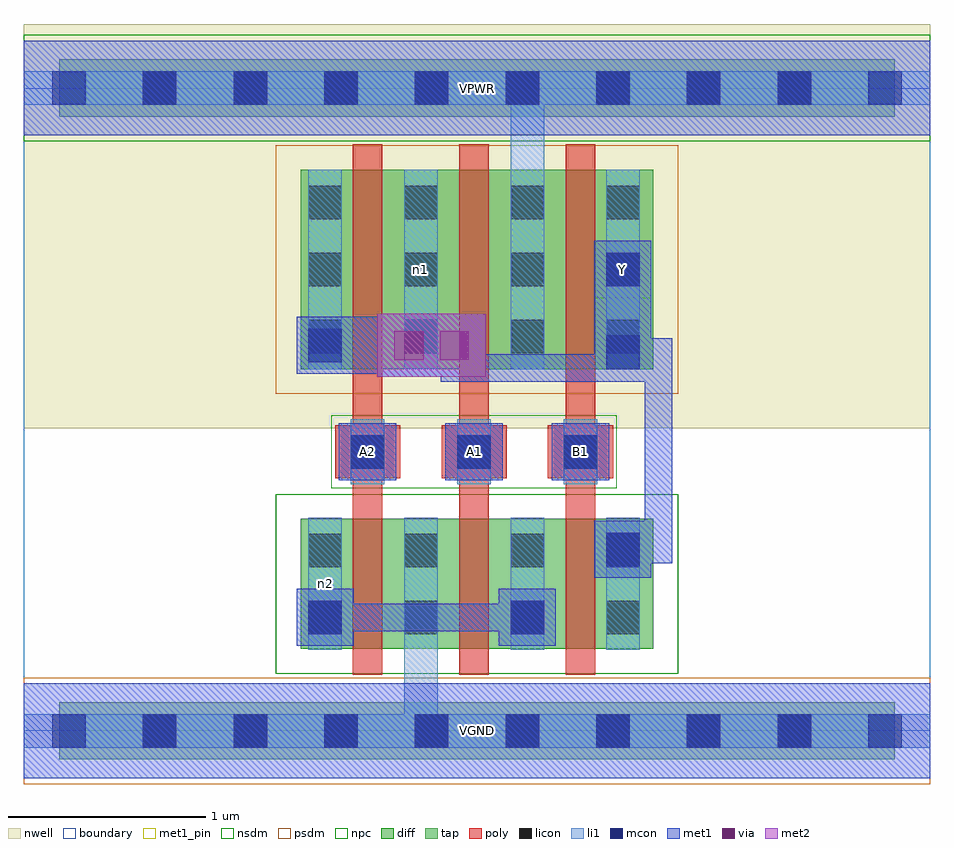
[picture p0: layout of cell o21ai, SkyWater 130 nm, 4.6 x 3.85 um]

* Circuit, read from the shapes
.subckt o21ai A1 A2 B1 VGND VPWR Y n1 n2
XM1 VGND A2 n2 VGND sky130_fd_pr__nfet_01v8 w=0.66 l=0.15
XM2 n2 A1 VGND VGND sky130_fd_pr__nfet_01v8 w=0.66 l=0.15
XM3 Y B1 n2 VGND sky130_fd_pr__nfet_01v8 w=0.66 l=0.15
XM4 n1 A2 Y VPWR sky130_fd_pr__pfet_01v8 w=1.01 l=0.15
XM5 VPWR A1 n1 VPWR sky130_fd_pr__pfet_01v8 w=1.01 l=0.15
XM6 Y B1 VPWR VPWR sky130_fd_pr__pfet_01v8 w=1.01 l=0.15
.ends

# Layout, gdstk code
import gdstk
lib = gdstk.Library(unit=1e-6, precision=1e-09)
def R(c, l, rs):  # rectangles x0, y0, x1, y1
    for r in rs: c.add(gdstk.rectangle(r[:2], r[2:], *l))
def A(c, l, x, y, w, h, nx, ny, dx, dy):  # array of equal rectangles
    R(c, l, [(x+i*dx, y+j*dy, x+i*dx+w, y+j*dy+h) for i in range(nx) for j in range(ny)])
nwell = (64, 20)
diff = (65, 20)
tap = (65, 44)
poly = (66, 20)
licon = (66, 44)
li1 = (67, 20)
mcon = (67, 44)
met1_pin = (68, 16)
met1 = (68, 20)
via = (68, 44)
met2 = (69, 20)
nsdm = (93, 44)
psdm = (94, 20)
npc = (95, 20)
boundary = (235, 4)

o21ai = lib.new_cell('o21ai')
R(o21ai, nwell, [(0,1.535,4.6,3.585)])
R(o21ai, diff, [(1.405,0.415,3.195,1.075), (1.405,1.835,3.195,2.845)])
R(o21ai, tap, [(0.18,-0.145,4.42,0.145), (0.18,3.115,4.42,3.405)])
A(o21ai, poly, 1.67, 0.285, 0.15, 2.69, 3, 1, 0.54, 0)
A(o21ai, poly, 1.58, 1.28, 0.33, 0.27, 3, 1, 0.54, 0)
A(o21ai, licon, 0.605, -0.085, 0.17, 0.17, 8, 2, 0.46, 3.26)
A(o21ai, licon, 1.66, 1.33, 0.17, 0.17, 3, 1, 0.54, 0)
A(o21ai, licon, 1.445, 1.915, 0.17, 0.17, 1, 3, 0, 0.34)
A(o21ai, licon, 1.93, 1.915, 0.17, 0.17, 1, 3, 0, 0.34)
A(o21ai, licon, 2.47, 1.915, 0.17, 0.17, 1, 3, 0, 0.34)
A(o21ai, licon, 2.955, 1.915, 0.17, 0.17, 1, 3, 0, 0.34)
R(o21ai, licon, [(1.445,0.49,1.615,0.66), (1.93,0.49,2.1,0.66), (2.47,0.49,2.64,0.66), (2.955,0.49,3.125,0.66), (1.445,0.83,1.615,1), (1.93,0.83,2.1,1), (2.47,0.83,2.64,1), (2.955,0.83,3.125,1)])
A(o21ai, li1, 1.66, 1.25, 0.17, 0.33, 3, 1, 0.54, 0)
R(o21ai, li1, [(0,-0.085,4.6,0.085), (1.93,-0.085,2.1,1.08), (1.445,0.41,1.615,1.08), (1.93,0.41,2.1,1.08), (2.47,0.41,2.64,1.08), (2.955,0.41,3.125,1.08), (1.445,1.835,1.615,2.845), (1.93,1.835,2.1,2.845), (2.47,1.835,2.64,2.845), (2.47,1.835,2.64,3.345), (2.955,1.835,3.125,2.845), (0,3.175,4.6,3.345)])
A(o21ai, mcon, 0.145, -0.085, 0.17, 0.17, 10, 2, 0.46, 3.26)
A(o21ai, mcon, 1.66, 1.33, 0.17, 0.17, 3, 1, 0.54, 0)
R(o21ai, mcon, [(1.445,0.49,1.615,0.66), (2.47,0.49,2.64,0.66), (2.955,0.835,3.125,1.005), (2.955,1.835,3.125,2.005), (1.445,1.87,1.615,2.04), (2.955,2.255,3.125,2.425)])
A(o21ai, met1_pin, 1.6, 1.27, 0.29, 0.29, 3, 1, 0.54, 0)
R(o21ai, met1_pin, [(0,-0.24,4.6,0.24), (2.895,2.195,3.185,2.485), (0,3.02,4.6,3.5)])
A(o21ai, met1, 1.6, 1.27, 0.29, 0.29, 3, 1, 0.54, 0)
R(o21ai, met1, [(0,-0.24,4.6,0.24), (1.385,0.43,1.675,0.72), (2.41,0.43,2.7,0.72), (1.46,0.505,1.795,0.645), (1.655,0.505,2.485,0.645), (2.345,0.505,2.625,0.645), (2.895,0.775,3.185,1.065), (2.97,0.85,3.29,0.99), (3.15,0.85,3.29,1.795), (3.15,1.655,3.29,1.99), (3.15,1.655,3.29,1.91), (2.115,1.77,2.255,2.025), (2.115,1.77,3.29,1.91), (2.895,1.775,3.185,2.065), (1.795,1.795,2.115,2.115), (2.025,1.795,2.345,2.115), (1.385,1.81,1.675,2.1), (1.675,1.81,1.795,2.1), (2.97,1.85,3.29,1.99), (1.46,1.885,1.795,2.025), (1.655,1.885,2.025,2.025), (2.895,2.065,3.185,2.195), (2.895,2.195,3.185,2.485), (0,3.02,4.6,3.5)])
R(o21ai, via, [(1.88,1.88,2.03,2.03), (2.11,1.88,2.26,2.03)])
R(o21ai, met2, [(1.795,1.795,2.115,2.115), (2.025,1.795,2.345,2.115), (1.885,1.885,2.255,2.025)])
R(o21ai, nsdm, [(1.28,0.29,3.32,1.2), (0,2.99,4.6,3.53)])
R(o21ai, psdm, [(0,-0.27,4.6,0.27), (1.28,1.71,3.32,2.97)])
R(o21ai, npc, [(1.56,1.23,3.01,1.6)])
R(o21ai, boundary, [(0,0,4.6,3.26)])
o21ai.add(gdstk.Label('n2', (1.53,0.745), layer=67, texttype=5))
o21ai.add(gdstk.Label('n1', (2.015,2.34), layer=67, texttype=5))
o21ai.add(gdstk.Label('A1', (2.285,1.415), layer=68, texttype=5))
o21ai.add(gdstk.Label('A2', (1.745,1.415), layer=68, texttype=5))
o21ai.add(gdstk.Label('B1', (2.825,1.415), layer=68, texttype=5))
o21ai.add(gdstk.Label('Y', (3.04,2.34), layer=68, texttype=5))
o21ai.add(gdstk.Label('VPWR', (2.3,3.26), layer=68, texttype=5))
o21ai.add(gdstk.Label('VGND', (2.3,0), layer=68, texttype=5))
o21ai.add(gdstk.Label('A1', (2.285,1.415), layer=68, texttype=16))
o21ai.add(gdstk.Label('A2', (1.745,1.415), layer=68, texttype=16))
o21ai.add(gdstk.Label('B1', (2.825,1.415), layer=68, texttype=16))
o21ai.add(gdstk.Label('Y', (3.04,2.34), layer=68, texttype=16))
o21ai.add(gdstk.Label('VPWR', (2.3,3.26), layer=68, texttype=16))
o21ai.add(gdstk.Label('VGND', (2.3,0), layer=68, texttype=16))

lib.write_gds('o21ai.gds')
